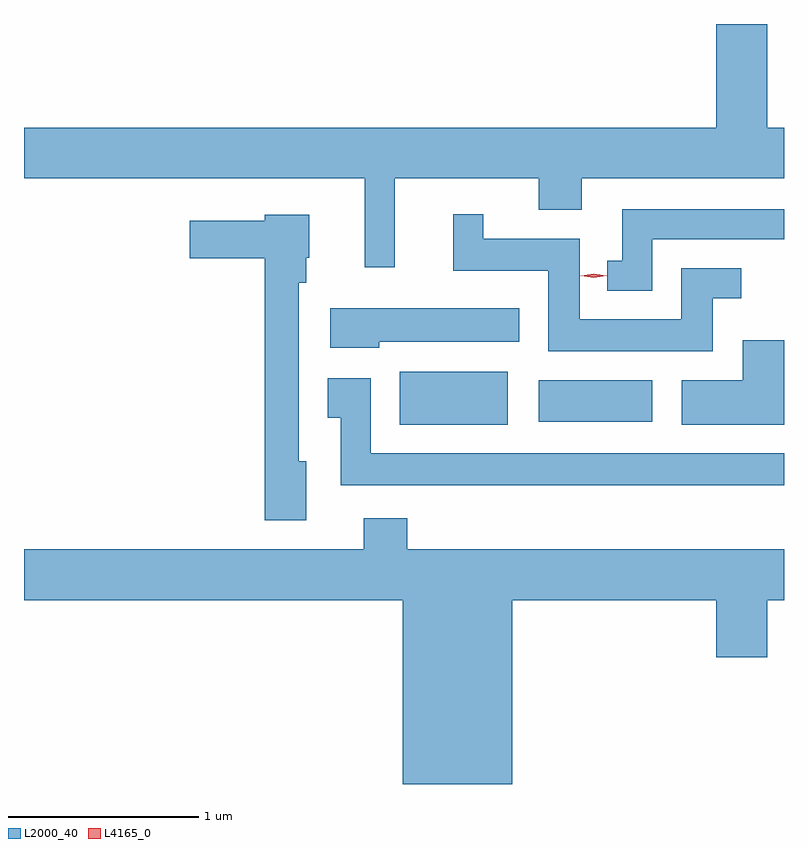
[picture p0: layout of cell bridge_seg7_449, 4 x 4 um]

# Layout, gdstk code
import gdstk
lib = gdstk.Library(unit=1e-6, precision=1e-09)
def R(c, l, rs):  # rectangles x0, y0, x1, y1
    for r in rs: c.add(gdstk.rectangle(r[:2], r[2:], *l))
def P(c, l, *ps):  # polygons
    for p in ps: c.add(gdstk.Polygon(p, *l))
L2000_40 = (2000, 40)
L4165_0 = (4165, 0)

bridge_seg7_449 = lib.new_cell('bridge_seg7_449')
R(bridge_seg7_449, L2000_40, [(1072.551,1681.941,1073.119,1682.219), (1073.281,1681.956,1073.879,1682.174)])
P(bridge_seg7_449, L2000_40, [(1072.524,1683.236),(1073.281,1683.236),(1073.281,1683.071),(1073.509,1683.071),(1073.509,1683.236),(1074.573,1683.236),(1074.573,1683.504),(1074.484,1683.504),(1074.484,1684.049),(1074.216,1684.049),(1074.216,1683.504),(1070.573,1683.504),(1070.573,1683.236),(1072.366,1683.236),(1072.366,1682.768),(1072.524,1682.768)],
  [(1073.879,1682.916),(1074.573,1682.916),(1074.573,1683.074),(1073.721,1683.074),(1073.721,1682.804),(1073.643,1682.804),(1073.643,1682.646),(1073.879,1682.646)],
  [(1074.199,1682.606),(1074.348,1682.606),(1074.348,1682.764),(1074.031,1682.764),(1074.031,1682.494),(1073.499,1682.494),(1073.499,1682.919),(1072.989,1682.919),(1072.989,1683.048),(1072.831,1683.048),(1072.831,1682.751),(1073.331,1682.751),(1073.331,1682.326),(1074.199,1682.326)],
  [(1072.059,1681.749),(1072.019,1681.749),(1072.019,1682.686),(1072.059,1682.686),(1072.059,1682.82),(1072.074,1682.82),(1072.074,1683.044),(1071.841,1683.044),(1071.841,1683.014),(1071.446,1683.014),(1071.446,1682.816),(1071.841,1682.816),(1071.841,1681.436),(1072.059,1681.436)],
  [(1072.444,1682.376),(1073.179,1682.376),(1073.179,1682.554),(1072.186,1682.554),(1072.186,1682.346),(1072.444,1682.346)],
  [(1074.573,1682.384),(1074.356,1682.384),(1074.356,1682.174),(1074.036,1682.174),(1074.036,1681.941),(1074.573,1681.941)],
  [(1074.573,1681.789),(1072.399,1681.789),(1072.399,1682.184),(1072.171,1682.184),(1072.171,1681.976),(1072.241,1681.976),(1072.241,1681.621),(1074.573,1681.621)],
  [(1073.144,1681.016),(1074.216,1681.016),(1074.216,1680.716),(1074.484,1680.716),(1074.484,1681.016),(1074.573,1681.016),(1074.573,1681.284),(1072.589,1681.284),(1072.589,1681.449),(1072.361,1681.449),(1072.361,1681.284),(1070.573,1681.284),(1070.573,1681.016),(1072.566,1681.016),(1072.566,1680.049),(1073.144,1680.049)])
P(bridge_seg7_449, L4165_0, [(1073.572,1682.714),(1073.502,1682.723),(1073.502,1682.723),(1073.502,1682.724),(1073.572,1682.734),(1073.641,1682.725),(1073.641,1682.724),(1073.641,1682.724)])

lib.write_gds('bridge_seg7_449.gds')
